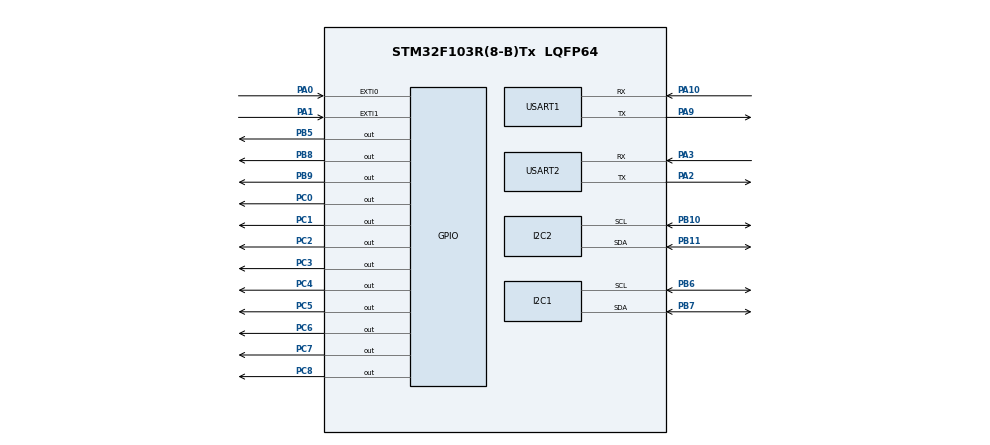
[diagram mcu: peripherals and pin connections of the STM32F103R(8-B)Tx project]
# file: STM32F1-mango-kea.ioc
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I2C2.I2C_Mode=I2C_Standard
Mcu.Family=STM32F1
Mcu.Name=STM32F103R(8-B)Tx
Mcu.Package=LQFP64
NVIC.EXTI0_IRQn=true\:0\:0\:false\:false\:true\:true\:true\:true
NVIC.EXTI1_IRQn=true\:0\:0\:false\:false\:true\:true\:true\:true
NVIC.I2C1_EV_IRQn=true\:0\:0\:false\:false\:true\:true\:true\:true
NVIC.PriorityGroup=NVIC_PRIORITYGROUP_4
NVIC.TIM1_BRK_IRQn=true\:0\:0\:false\:false\:true\:true\:true\:true
NVIC.TIM1_CC_IRQn=true\:0\:0\:false\:false\:true\:true\:true\:true
NVIC.TIM1_TRG_COM_IRQn=true\:0\:0\:false\:false\:true\:true\:true\:true
NVIC.TIM1_UP_IRQn=true\:0\:0\:false\:false\:true\:true\:true\:true
NVIC.TIM2_IRQn=true\:0\:0\:false\:false\:true\:true\:true\:true
NVIC.TIM3_IRQn=true\:0\:0\:false\:false\:true\:true\:true\:true
NVIC.USART1_IRQn=true\:0\:0\:false\:false\:true\:true\:true\:true
NVIC.USART2_IRQn=true\:0\:0\:false\:false\:true\:true\:true\:true
PA0-WKUP.GPIO_ModeDefaultEXTI=GPIO_MODE_IT_RISING
PA0-WKUP.Signal=GPXTI0
PA1.GPIO_ModeDefaultEXTI=GPIO_MODE_IT_RISING
PA1.Signal=GPXTI1
PA10.Mode=Asynchronous
PA10.Signal=USART1_RX
PA2.Mode=Asynchronous
PA2.Signal=USART2_TX
PA3.Mode=Asynchronous
PA3.Signal=USART2_RX
PA9.Mode=Asynchronous
PA9.Signal=USART1_TX
PB10.Mode=I2C
PB10.Signal=I2C2_SCL
PB11.Mode=I2C
PB11.Signal=I2C2_SDA
PB5.Signal=GPIO_Output
PB6.Mode=I2C
PB6.Signal=I2C1_SCL
PB7.Mode=I2C
PB7.Signal=I2C1_SDA
PB8.Signal=GPIO_Output
PB9.Signal=GPIO_Output
PC0.Signal=GPIO_Output
PC1.Signal=GPIO_Output
PC2.Signal=GPIO_Output
PC3.Signal=GPIO_Output
PC4.Signal=GPIO_Output
PC5.Signal=GPIO_Output
PC6.Signal=GPIO_Output
PC7.Signal=GPIO_Output
PC8.Signal=GPIO_Output
ProjectManager.HeapSize=0x200
ProjectManager.StackSize=0x400
ProjectManager.TargetToolchain=STM32CubeIDE
RCC.APB1Freq_Value=8000000
RCC.APB2Freq_Value=8000000
TIM1.Period=1000
TIM1.Prescaler=8000
TIM2.Period=10
TIM2.Prescaler=8000
TIM3.AutoReloadPreload=TIM_AUTORELOAD_PRELOAD_DISABLE
TIM3.Period=3000
TIM3.Prescaler=8000
TIM3.TIM_MasterOutputTrigger=TIM_TRGO_UPDATE
TIM3.TIM_MasterSlaveMode=TIM_MASTERSLAVEMODE_DISABLE
USART1.VirtualMode=VM_ASYNC
USART2.VirtualMode=VM_ASYNC
VP_TIM1_VS_ClockSourceINT.Mode=Internal
VP_TIM2_VS_ClockSourceINT.Mode=Internal
VP_TIM3_VS_ClockSourceINT.Mode=Internal
board=custom

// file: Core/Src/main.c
/* USER CODE BEGIN Header */
/**
  ******************************************************************************
  * @file           : main.c
  * @brief          : Main program body
  ******************************************************************************
  * @attention
  *
  * Copyright (c) 2023 STMicroelectronics.
  * All rights reserved.
  *
  * This software is licensed under terms that can be found in the LICENSE file
  * in the root directory of this software component.
  * If no LICENSE file comes with this software, it is provided AS-IS.
  *
  ******************************************************************************
  */
/* USER CODE END Header */
#include "main.h"

I2C_HandleTypeDef hi2c1;
I2C_HandleTypeDef hi2c2;

TIM_HandleTypeDef htim1;
TIM_HandleTypeDef htim2;
TIM_HandleTypeDef htim3;

UART_HandleTypeDef huart1;
UART_HandleTypeDef huart2;

/* USER CODE BEGIN PV */
//user-uart.c
extern uint8_t UartBuf[UART_BUF_SIZE];
/* USER CODE END PV */

void SystemClock_Config(void);
static void MX_GPIO_Init(void);
static void MX_USART1_UART_Init(void);
static void MX_USART2_UART_Init(void);
static void MX_I2C1_Init(void);
static void MX_I2C2_Init(void);
static void MX_TIM3_Init(void);
static void MX_TIM1_Init(void);
static void MX_TIM2_Init(void);

int main(void)
{

  /* USER CODE BEGIN 1 */
  int digit;
  /* USER CODE END 1 */

  /* MCU Configuration--------------------------------------------------------*/

  /* Reset of all peripherals, Initializes the Flash interface and the Systick. */
  HAL_Init();

  /* Configure the system clock */
  SystemClock_Config();

  /* Initialize all configured peripherals */
  MX_GPIO_Init();
  MX_USART1_UART_Init();
  MX_USART2_UART_Init();
  MX_I2C1_Init();
  MX_I2C2_Init();
  MX_TIM3_Init();
  MX_TIM1_Init();
  MX_TIM2_Init();
  /* USER CODE BEGIN 2 */
  user_uart_send_msg(&huart1, UART_CONNECT_MSG);
  user_uart_send_msg(&huart2, UART_CONNECT_MSG);
  user_uart_send_msg(&huart1, "[Done] Devices Init.");
  user_gpio_led_off_all();
  user_uart_send_msg(&huart1, "[Done] user_gpio_led_off_all.");

  user_uart_send_msg(&huart1, "[Start] user_gpio_fnd_test.");
  user_gpio_fnd_test();
  user_uart_send_msg(&huart1, "[Done] user_gpio_fnd_test.");

  HAL_TIM_Base_Start_IT(&htim1);
  HAL_TIM_Base_Start_IT(&htim2);
  HAL_TIM_Base_Start_IT(&htim3);
  user_uart_send_msg(&huart1, "[Done] Timer Interrupt Start.");

  user_i2c_bh17_test(20);
  //user_i2c_bh17_device_set();

  HAL_StatusTypeDef hal_ret;
  while (1) {
	  memset(UartBuf, 0, SIZEOF(UartBuf));
  	  hal_ret = HAL_UART_Receive(&huart1, UartBuf, 1, 100);	//TimeOut == 100ms
  	  if (hal_ret == HAL_OK) {
  		  user_uart_send_char(&huart1, UartBuf);

  		  //digit = isdigit(UartBuf[0]) ? UartBuf[0] - '0' : 0;
  		  digit = atoi((const char *)UartBuf);
  		  if (digit >= 0 && digit <= 9) {
  			  user_gpio_fnd_clear();
  			  user_gpio_fnd_digit(digit);
  		  }

  		  if (UartBuf[0] == '\r')
  			  user_i2c_bh17_test(20);
  	  }
  	  //user_i2c_bh17_data_get();
  }

  /* USER CODE END 2 */

  /* Infinite loop */
  while (1)
  {

  }
}

void SystemClock_Config(void)
{
  RCC_OscInitTypeDef RCC_OscInitStruct = {0};
  RCC_ClkInitTypeDef RCC_ClkInitStruct = {0};

  /** Initializes the RCC Oscillators according to the specified parameters
  * in the RCC_OscInitTypeDef structure.
  */
  RCC_OscInitStruct.OscillatorType = RCC_OSCILLATORTYPE_HSI;
  RCC_OscInitStruct.HSIState = RCC_HSI_ON;
  RCC_OscInitStruct.HSICalibrationValue = RCC_HSICALIBRATION_DEFAULT;
  RCC_OscInitStruct.PLL.PLLState = RCC_PLL_NONE;
  if (HAL_RCC_OscConfig(&RCC_OscInitStruct) != HAL_OK)
  {
    Error_Handler();
  }

  /** Initializes the CPU, AHB and APB buses clocks
  */
  RCC_ClkInitStruct.ClockType = RCC_CLOCKTYPE_HCLK|RCC_CLOCKTYPE_SYSCLK
                              |RCC_CLOCKTYPE_PCLK1|RCC_CLOCKTYPE_PCLK2;
  RCC_ClkInitStruct.SYSCLKSource = RCC_SYSCLKSOURCE_HSI;
  RCC_ClkInitStruct.AHBCLKDivider = RCC_SYSCLK_DIV1;
  RCC_ClkInitStruct.APB1CLKDivider = RCC_HCLK_DIV1;
  RCC_ClkInitStruct.APB2CLKDivider = RCC_HCLK_DIV1;

  if (HAL_RCC_ClockConfig(&RCC_ClkInitStruct, FLASH_LATENCY_0) != HAL_OK)
  {
    Error_Handler();
  }
}

static void MX_I2C1_Init(void)
{

  hi2c1.Instance = I2C1;
  hi2c1.Init.ClockSpeed = 100000;
  hi2c1.Init.DutyCycle = I2C_DUTYCYCLE_2;
  hi2c1.Init.OwnAddress1 = 0;
  hi2c1.Init.AddressingMode = I2C_ADDRESSINGMODE_7BIT;
  hi2c1.Init.DualAddressMode = I2C_DUALADDRESS_DISABLE;
  hi2c1.Init.OwnAddress2 = 0;
  hi2c1.Init.GeneralCallMode = I2C_GENERALCALL_DISABLE;
  hi2c1.Init.NoStretchMode = I2C_NOSTRETCH_DISABLE;
  if (HAL_I2C_Init(&hi2c1) != HAL_OK)
  {
    Error_Handler();
  }

}

static void MX_I2C2_Init(void)
{

  hi2c2.Instance = I2C2;
  hi2c2.Init.ClockSpeed = 100000;
  hi2c2.Init.DutyCycle = I2C_DUTYCYCLE_2;
  hi2c2.Init.OwnAddress1 = 0;
  hi2c2.Init.AddressingMode = I2C_ADDRESSINGMODE_7BIT;
  hi2c2.Init.DualAddressMode = I2C_DUALADDRESS_DISABLE;
  hi2c2.Init.OwnAddress2 = 0;
  hi2c2.Init.GeneralCallMode = I2C_GENERALCALL_DISABLE;
  hi2c2.Init.NoStretchMode = I2C_NOSTRETCH_DISABLE;
  if (HAL_I2C_Init(&hi2c2) != HAL_OK)
  {
    Error_Handler();
  }

}

static void MX_TIM1_Init(void)
{

  TIM_ClockConfigTypeDef sClockSourceConfig = {0};
  TIM_MasterConfigTypeDef sMasterConfig = {0};

  htim1.Instance = TIM1;
  htim1.Init.Prescaler = 8000;
  htim1.Init.CounterMode = TIM_COUNTERMODE_UP;
  htim1.Init.Period = 1000;
  htim1.Init.ClockDivision = TIM_CLOCKDIVISION_DIV1;
  htim1.Init.RepetitionCounter = 0;
  htim1.Init.AutoReloadPreload = TIM_AUTORELOAD_PRELOAD_DISABLE;
  if (HAL_TIM_Base_Init(&htim1) != HAL_OK)
  {
    Error_Handler();
  }
  sClockSourceConfig.ClockSource = TIM_CLOCKSOURCE_INTERNAL;
  if (HAL_TIM_ConfigClockSource(&htim1, &sClockSourceConfig) != HAL_OK)
  {
    Error_Handler();
  }
  sMasterConfig.MasterOutputTrigger = TIM_TRGO_RESET;
  sMasterConfig.MasterSlaveMode = TIM_MASTERSLAVEMODE_DISABLE;
  if (HAL_TIMEx_MasterConfigSynchronization(&htim1, &sMasterConfig) != HAL_OK)
  {
    Error_Handler();
  }

}

static void MX_TIM2_Init(void)
{

  TIM_ClockConfigTypeDef sClockSourceConfig = {0};
  TIM_MasterConfigTypeDef sMasterConfig = {0};

  htim2.Instance = TIM2;
  htim2.Init.Prescaler = 8000;
  htim2.Init.CounterMode = TIM_COUNTERMODE_UP;
  htim2.Init.Period = 10;
  htim2.Init.ClockDivision = TIM_CLOCKDIVISION_DIV1;
  htim2.Init.AutoReloadPreload = TIM_AUTORELOAD_PRELOAD_DISABLE;
  if (HAL_TIM_Base_Init(&htim2) != HAL_OK)
  {
    Error_Handler();
  }
  sClockSourceConfig.ClockSource = TIM_CLOCKSOURCE_INTERNAL;
  if (HAL_TIM_ConfigClockSource(&htim2, &sClockSourceConfig) != HAL_OK)
  {
    Error_Handler();
  }
  sMasterConfig.MasterOutputTrigger = TIM_TRGO_RESET;
  sMasterConfig.MasterSlaveMode = TIM_MASTERSLAVEMODE_DISABLE;
  if (HAL_TIMEx_MasterConfigSynchronization(&htim2, &sMasterConfig) != HAL_OK)
  {
    Error_Handler();
  }

}

static void MX_TIM3_Init(void)
{

  TIM_ClockConfigTypeDef sClockSourceConfig = {0};
  TIM_MasterConfigTypeDef sMasterConfig = {0};

  htim3.Instance = TIM3;
  htim3.Init.Prescaler = 8000;
  htim3.Init.CounterMode = TIM_COUNTERMODE_UP;
  htim3.Init.Period = 3000;
  htim3.Init.ClockDivision = TIM_CLOCKDIVISION_DIV1;
  htim3.Init.AutoReloadPreload = TIM_AUTORELOAD_PRELOAD_DISABLE;
  if (HAL_TIM_Base_Init(&htim3) != HAL_OK)
  {
    Error_Handler();
  }
  sClockSourceConfig.ClockSource = TIM_CLOCKSOURCE_INTERNAL;
  if (HAL_TIM_ConfigClockSource(&htim3, &sClockSourceConfig) != HAL_OK)
  {
    Error_Handler();
  }
  sMasterConfig.MasterOutputTrigger = TIM_TRGO_UPDATE;
  sMasterConfig.MasterSlaveMode = TIM_MASTERSLAVEMODE_DISABLE;
  if (HAL_TIMEx_MasterConfigSynchronization(&htim3, &sMasterConfig) != HAL_OK)
  {
    Error_Handler();
  }

}

static void MX_USART1_UART_Init(void)
{

  huart1.Instance = USART1;
  huart1.Init.BaudRate = 115200;
  huart1.Init.WordLength = UART_WORDLENGTH_8B;
  huart1.Init.StopBits = UART_STOPBITS_1;
  huart1.Init.Parity = UART_PARITY_NONE;
  huart1.Init.Mode = UART_MODE_TX_RX;
  huart1.Init.HwFlowCtl = UART_HWCONTROL_NONE;
  huart1.Init.OverSampling = UART_OVERSAMPLING_16;
  if (HAL_UART_Init(&huart1) != HAL_OK)
  {
    Error_Handler();
  }

}

static void MX_USART2_UART_Init(void)
{

  huart2.Instance = USART2;
  huart2.Init.BaudRate = 115200;
  huart2.Init.WordLength = UART_WORDLENGTH_8B;
  huart2.Init.StopBits = UART_STOPBITS_1;
  huart2.Init.Parity = UART_PARITY_NONE;
  huart2.Init.Mode = UART_MODE_TX_RX;
  huart2.Init.HwFlowCtl = UART_HWCONTROL_NONE;
  huart2.Init.OverSampling = UART_OVERSAMPLING_16;
  if (HAL_UART_Init(&huart2) != HAL_OK)
  {
    Error_Handler();
  }

}

static void MX_GPIO_Init(void)
{
  GPIO_InitTypeDef GPIO_InitStruct = {0};

  /* GPIO Ports Clock Enable */
  __HAL_RCC_GPIOC_CLK_ENABLE();
  __HAL_RCC_GPIOA_CLK_ENABLE();
  __HAL_RCC_GPIOB_CLK_ENABLE();

  /*Configure GPIO pin Output Level */
  HAL_GPIO_WritePin(GPIOC, GPIO_PIN_0|GPIO_PIN_1|GPIO_PIN_2|GPIO_PIN_3
                          |GPIO_PIN_4|GPIO_PIN_5|GPIO_PIN_6|GPIO_PIN_7
                          |GPIO_PIN_8, GPIO_PIN_RESET);

  /*Configure GPIO pin Output Level */
  HAL_GPIO_WritePin(GPIOB, GPIO_PIN_5|GPIO_PIN_8|GPIO_PIN_9, GPIO_PIN_RESET);

  /*Configure GPIO pins : PC0 PC1 PC2 PC3
                           PC4 PC5 PC6 PC7
                           PC8 */
  GPIO_InitStruct.Pin = GPIO_PIN_0|GPIO_PIN_1|GPIO_PIN_2|GPIO_PIN_3
                          |GPIO_PIN_4|GPIO_PIN_5|GPIO_PIN_6|GPIO_PIN_7
                          |GPIO_PIN_8;
  GPIO_InitStruct.Mode = GPIO_MODE_OUTPUT_PP;
  GPIO_InitStruct.Pull = GPIO_NOPULL;
  GPIO_InitStruct.Speed = GPIO_SPEED_FREQ_LOW;
  HAL_GPIO_Init(GPIOC, &GPIO_InitStruct);

  /*Configure GPIO pins : PA0 PA1 */
  GPIO_InitStruct.Pin = GPIO_PIN_0|GPIO_PIN_1;
  GPIO_InitStruct.Mode = GPIO_MODE_IT_RISING;
  GPIO_InitStruct.Pull = GPIO_NOPULL;
  HAL_GPIO_Init(GPIOA, &GPIO_InitStruct);

  /*Configure GPIO pins : PB5 PB8 PB9 */
  GPIO_InitStruct.Pin = GPIO_PIN_5|GPIO_PIN_8|GPIO_PIN_9;
  GPIO_InitStruct.Mode = GPIO_MODE_OUTPUT_PP;
  GPIO_InitStruct.Pull = GPIO_NOPULL;
  GPIO_InitStruct.Speed = GPIO_SPEED_FREQ_LOW;
  HAL_GPIO_Init(GPIOB, &GPIO_InitStruct);

  /* EXTI interrupt init*/
  HAL_NVIC_SetPriority(EXTI0_IRQn, 0, 0);
  HAL_NVIC_EnableIRQ(EXTI0_IRQn);

  HAL_NVIC_SetPriority(EXTI1_IRQn, 0, 0);
  HAL_NVIC_EnableIRQ(EXTI1_IRQn);

}

void Error_Handler(void)
{
  __disable_irq();
  while (1)
  {
  }
}
